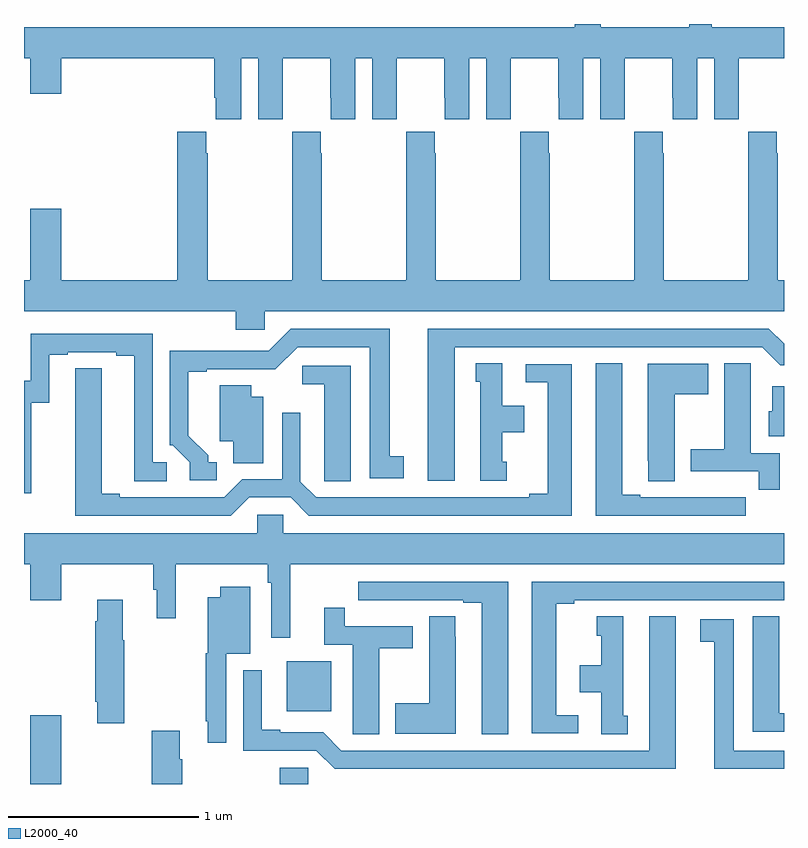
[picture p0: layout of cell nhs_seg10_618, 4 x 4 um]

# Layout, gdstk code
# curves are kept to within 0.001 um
import gdstk
lib = gdstk.Library(unit=1e-6, precision=1e-09)
def R(c, l, rs):  # rectangles x0, y0, x1, y1
    for r in rs: c.add(gdstk.rectangle(r[:2], r[2:], *l))
def P(c, l, *ps):  # polygons
    for p in ps: c.add(gdstk.Polygon(p, *l))
L2000_40 = (2000, 40)

nhs_seg10_618 = lib.new_cell('nhs_seg10_618')
R(nhs_seg10_618, L2000_40, [(141.032,1292.5,141.196,1292.863), (142.346,1292.5,142.497,1292.586), (142.382,1292.882,142.618,1293.145)])
P(nhs_seg10_618, L2000_40, [(142.144,1296.32),(142.232,1296.32),(142.232,1296),(142.362,1296),(142.362,1296.112),(142.363,1296.112),(142.363,1296.32),(142.613,1296.32),(142.613,1296.112),(142.614,1296.112),(142.614,1296),(142.744,1296),(142.744,1296.32),(142.832,1296.32),(142.832,1296),(142.962,1296),(142.962,1296.112),(142.963,1296.112),(142.963,1296.32),(143.213,1296.32),(143.213,1296.112),(143.214,1296.112),(143.214,1296),(143.344,1296),(143.344,1296.32),(143.432,1296.32),(143.432,1296),(143.562,1296),(143.562,1296.112),(143.563,1296.112),(143.563,1296.32),(143.813,1296.32),(143.813,1296.112),(143.814,1296.112),(143.814,1296),(143.944,1296),(143.944,1296.32),(144.032,1296.32),(144.032,1296),(144.162,1296),(144.162,1296.112),(144.163,1296.112),(144.163,1296.32),(144.413,1296.32),(144.413,1296.112),(144.414,1296.112),(144.414,1296),(144.544,1296),(144.544,1296.32),(144.632,1296.32),(144.632,1296),(144.762,1296),(144.762,1296.112),(144.763,1296.112),(144.763,1296.32),(145,1296.32),(145,1296.484),(144.62,1296.484),(144.62,1296.5),(144.502,1296.5),(144.502,1296.484),(144.035,1296.484),(144.035,1296.5),(143.899,1296.5),(143.899,1296.484),(141,1296.484),(141,1296.32),(141.032,1296.32),(141.032,1296.132),(141.196,1296.132),(141.196,1296.32),(142.001,1296.32),(142.001,1296.112),(142.01,1296.112),(142.01,1296),(142.144,1296)],
  [(142.266,1294.988),(145,1294.988),(145,1295.152),(144.966,1295.152),(144.966,1295.819),(144.963,1295.819),(144.963,1295.932),(144.813,1295.932),(144.813,1295.819),(144.811,1295.819),(144.811,1295.152),(144.366,1295.152),(144.366,1295.819),(144.363,1295.819),(144.363,1295.932),(144.213,1295.932),(144.213,1295.819),(144.211,1295.819),(144.211,1295.152),(143.766,1295.152),(143.766,1295.819),(143.763,1295.819),(143.763,1295.932),(143.613,1295.932),(143.613,1295.819),(143.611,1295.819),(143.611,1295.152),(143.166,1295.152),(143.166,1295.819),(143.163,1295.819),(143.163,1295.932),(143.013,1295.932),(143.013,1295.819),(143.011,1295.819),(143.011,1295.152),(142.566,1295.152),(142.566,1295.819),(142.563,1295.819),(142.563,1295.932),(142.413,1295.932),(142.413,1295.819),(142.411,1295.819),(142.411,1295.152),(141.966,1295.152),(141.966,1295.819),(141.959,1295.819),(141.959,1295.932),(141.806,1295.932),(141.806,1295.152),(141.196,1295.152),(141.196,1295.527),(141.032,1295.527),(141.032,1295.152),(141,1295.152),(141,1294.988),(142.115,1294.988),(142.115,1294.89),(142.266,1294.89)],
  [(142.015,1294.194),(141.97,1294.194),(141.97,1294.229),(141.865,1294.334),(141.865,1294.671),(141.961,1294.671),(141.961,1294.683),(142.322,1294.682),(142.44,1294.8),(142.82,1294.8),(142.82,1294.11),(142.999,1294.11),(142.999,1294.226),(142.924,1294.226),(142.924,1294.896),(142.404,1294.896),(142.287,1294.779),(142.031,1294.779),(142.031,1294.781),(141.768,1294.781),(141.768,1294.284),(141.783,1294.284),(141.873,1294.194),(141.873,1294.098),(142.015,1294.098)],
  [(143.266,1294.8),(144.885,1294.8),(144.981,1294.704),(145,1294.704),(145,1294.817),(144.921,1294.896),(143.126,1294.896),(143.126,1294.095),(143.266,1294.095)],
  [(141.039,1294.507),(141.133,1294.507),(141.133,1294.758),(141.229,1294.758),(141.229,1294.773),(141.485,1294.773),(141.485,1294.753),(141.581,1294.753),(141.581,1294.093),(141.751,1294.093),(141.751,1294.194),(141.678,1294.194),(141.678,1294.869),(141.036,1294.869),(141.036,1294.623),(141,1294.623),(141,1294.029),(141.039,1294.029)],
  [(143.542,1294.197),(143.518,1294.197),(143.518,1294.352),(143.632,1294.352),(143.632,1294.492),(143.518,1294.492),(143.518,1294.715),(143.378,1294.715),(143.378,1294.617),(143.402,1294.617),(143.402,1294.095),(143.542,1294.095)],
  [(144.977,1294.242),(144.826,1294.242),(144.826,1294.604),(144.825,1294.604),(144.825,1294.715),(144.686,1294.715),(144.686,1294.263),(144.509,1294.263),(144.509,1294.146),(144.868,1294.146),(144.868,1294.05),(144.977,1294.05)],
  [(144.799,1294.008),(144.686,1294.008),(144.686,1294.009),(144.52,1294.009),(144.52,1294.008),(144.244,1294.008),(144.244,1294.023),(144.148,1294.023),(144.148,1294.715),(144.008,1294.715),(144.008,1293.912),(144.799,1293.912)],
  [(144.424,1294.552),(144.601,1294.552),(144.601,1294.711),(144.284,1294.711),(144.284,1294.201),(144.285,1294.201),(144.285,1294.093),(144.424,1294.093)],
  [(142.185,1294.008),(142.403,1294.008),(142.499,1293.912),(143.884,1293.912),(143.884,1294.71),(143.64,1294.71),(143.64,1294.614),(143.756,1294.614),(143.756,1294.028),(143.66,1294.028),(143.66,1294.008),(142.539,1294.008),(142.455,1294.092),(142.455,1294.453),(142.359,1294.453),(142.359,1294.104),(142.149,1294.104),(142.053,1294.008),(141.505,1294.008),(141.505,1294.028),(141.409,1294.028),(141.409,1294.688),(141.27,1294.688),(141.269,1293.912),(142.089,1293.912)],
  [(142.72,1294.701),(142.464,1294.701),(142.464,1294.604),(142.58,1294.604),(142.58,1294.201),(142.581,1294.201),(142.581,1294.093),(142.72,1294.093)],
  [(142.258,1294.537),(142.195,1294.537),(142.195,1294.598),(142.031,1294.598),(142.031,1294.304),(142.1,1294.304),(142.1,1294.189),(142.258,1294.189)],
  [(145,1294.594),(144.938,1294.594),(144.938,1294.461),(144.92,1294.461),(144.92,1294.331),(145,1294.331)],
  [(142.4,1293.656),(145,1293.656),(145,1293.82),(142.365,1293.82),(142.365,1293.918),(142.227,1293.918),(142.227,1293.82),(141,1293.82),(141,1293.656),(141.032,1293.656),(141.032,1293.468),(141.196,1293.468),(141.196,1293.656),(141.679,1293.656),(141.679,1293.522),(141.698,1293.522),(141.698,1293.372),(141.798,1293.372),(141.798,1293.656),(142.282,1293.656),(142.282,1293.56),(142.302,1293.56),(142.302,1293.27),(142.4,1293.27)],
  [(143.548,1293.564),(142.758,1293.564),(142.758,1293.468),(142.87,1293.468),(142.87,1293.467),(143.036,1293.467),(143.036,1293.468),(143.312,1293.468),(143.312,1293.453),(143.408,1293.453),(143.408,1292.761),(143.548,1292.761)],
  [(143.917,1292.862),(143.8,1292.862),(143.8,1293.448),(143.896,1293.448),(143.896,1293.468),(145,1293.468),(145,1293.564),(143.672,1293.564),(143.672,1292.766),(143.917,1292.766)],
  [(142.065,1293.185),(142.192,1293.185),(142.192,1293.538),(142.034,1293.538),(142.034,1293.484),(141.968,1293.484),(141.968,1293.189),(141.957,1293.189),(141.957,1292.83),(141.968,1292.83),(141.968,1292.718),(142.065,1292.718)],
  [(141.528,1293.256),(141.52,1293.256),(141.52,1293.469),(141.386,1293.469),(141.386,1293.356),(141.374,1293.356),(141.374,1292.932),(141.386,1292.932),(141.386,1292.82),(141.528,1292.82)],
  [(142.87,1293.214),(143.047,1293.214),(143.047,1293.33),(142.688,1293.33),(142.688,1293.427),(142.58,1293.427),(142.58,1293.234),(142.73,1293.234),(142.73,1292.872),(142.731,1292.872),(142.731,1292.761),(142.87,1292.761)],
  [(143.272,1293.275),(143.271,1293.275),(143.271,1293.383),(143.132,1293.383),(143.132,1292.925),(142.955,1292.925),(142.955,1292.765),(143.272,1292.765)],
  [(145,1292.872),(144.976,1292.872),(144.976,1293.275),(144.975,1293.275),(144.975,1293.383),(144.836,1293.383),(144.836,1292.775),(145,1292.775)],
  [(144.43,1293.382),(144.29,1293.382),(144.29,1292.676),(142.671,1292.676),(142.575,1292.772),(142.348,1292.772),(142.348,1292.785),(142.252,1292.785),(142.252,1293.1),(142.155,1293.1),(142.155,1292.676),(142.539,1292.676),(142.635,1292.58),(144.43,1292.58)],
  [(144.178,1292.859),(144.154,1292.859),(144.154,1293.382),(144.014,1293.382),(144.014,1293.279),(144.038,1293.279),(144.038,1293.124),(143.924,1293.124),(143.924,1292.984),(144.038,1292.984),(144.038,1292.761),(144.178,1292.761)],
  [(145,1292.676),(144.736,1292.676),(144.736,1293.366),(144.558,1293.366),(144.558,1293.25),(144.632,1293.25),(144.632,1292.58),(145,1292.58)],
  [(141.833,1292.63),(141.82,1292.63),(141.82,1292.779),(141.673,1292.779),(141.673,1292.5),(141.833,1292.5)])

lib.write_gds('nhs_seg10_618.gds')
